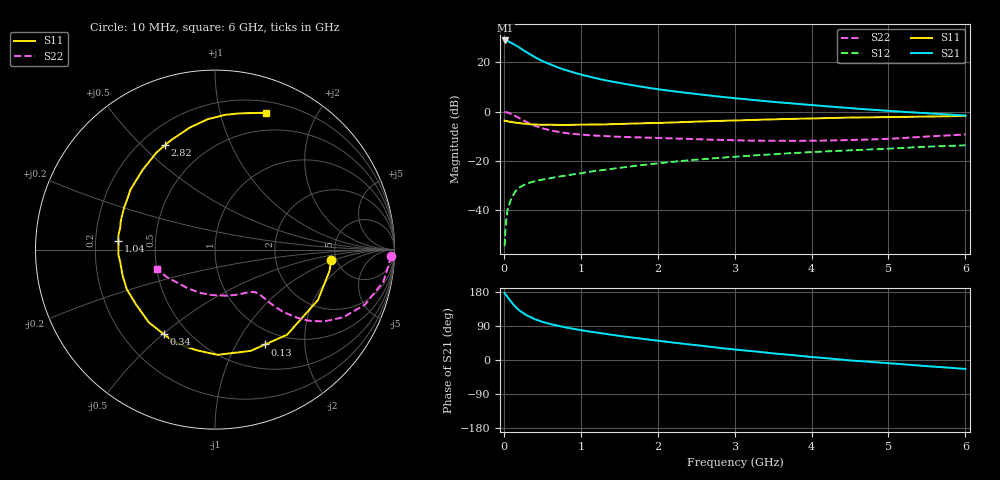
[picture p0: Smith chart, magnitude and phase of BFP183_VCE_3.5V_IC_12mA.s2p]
! (c) 2016  Infineon Technologies AG, Munich
! Infineon Technologies  Discrete & RF Semiconductors
! BFP183
! VCE = 3.5 V,  IC =  12 mA
! Common Emitter S-Parameters:  Jan 2016
# GHz  S  MA  R  50
!  f  S11  S21  S12  S22
! GHz  MAG  ANG  MAG  ANG  MAG  ANG  MAG  ANG
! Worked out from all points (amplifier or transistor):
!   210 points, 10 MHz to 6 GHz, reference 50 ohm
!   highest |S21| = 29.0 dB at 20 MHz (marker M1)
!   |S21| within 3 dB of that: start of sweep to 207 MHz
!   unconditionally stable (mu >= 1): 1.097 GHz to 5.609 GHz
!   at 185 MHz: K = 0.28, MSG = 28.9 dB, |S12| = -31.5 dB
!   at 1.52 GHz: K = 1.11, MAG = 15.2 dB, |S12| = -22.9 dB
!   at 6 GHz: K = 0.94, MSG = 6.1 dB, |S12| = -13.8 dB
!   S11 on the Smith chart (normalised r, x): 10 MHz: 4.52, -0.90; 130 MHz: 0.81, -1.32; 340 MHz: 0.37, -0.50; 1.04 GHz: 0.30, +0.04; 2.82 GHz: 0.30, +0.59; 6 GHz: 0.31, +1.39
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0.01  0.6496 -5.1  28.07 176.9  0.0018 84.0  0.9822 -2.1
0.02  0.6492 -10.5  28.12 174.2  0.0037 88.2  0.9737 -4.4
0.05  0.6386 -26.1  27.41 165.1  0.0099 80.7  0.9554 -10.7
0.09  0.6164 -44.9  25.51 154.6  0.0157 69.8  0.9006 -18.2
0.13  0.5978 -62.1  23.6 145.2  0.0211 63.3  0.8397 -24.5
0.15  0.5983 -70.6  22.75 140.3  0.0237 60.9  0.8094 -27.7
0.2  0.5865 -88.6  20.26 131.0  0.0281 54.5  0.7314 -33.1
0.26  0.5665 -104.5  17.49 122.3  0.0318 50.7  0.6485 -37.5
0.34  0.5504 -121.3  14.71 114.1  0.0356 46.9  0.5653 -40.6
0.4  0.5482 -132.2  12.9 107.7  0.0379 45.1  0.5133 -42.5
0.5  0.5357 -145.4  10.68 100.7  0.0411 43.4  0.4553 -43.7
0.6  0.5389 -155.8  9.177 94.9  0.0437 43.3  0.4146 -44.3
0.8  0.5318 -171.6  7.032 86.0  0.0496 44.1  0.3653 -44.9
1.02  0.5393 176.0  5.571 78.1  0.0558 45.4  0.337 -45.9
1.04  0.5402 174.9  5.475 77.4  0.0566 45.4  0.335 -46.1
1.5  0.5577 155.2  3.828 63.7  0.0713 46.4  0.3057 -50.4
2.02  0.5859 137.6  2.824 50.3  0.0886 45.0  0.2881 -58.5
2.82  0.645 115.7  1.999 31.4  0.1142 40.7  0.2649 -75.9
3.1  0.6634 109.5  1.808 25.9  0.1229 38.8  0.2572 -83.1
4.1  0.7321 91.6  1.315 6.3  0.1519 31.2  0.2551 -112.5
5.1  0.775 78.5  1.007 -9.9  0.178 24.5  0.2828 -140.7
6  0.8131 69.7  0.829 -23.6  0.2045 16.5  0.3419 -161.8
